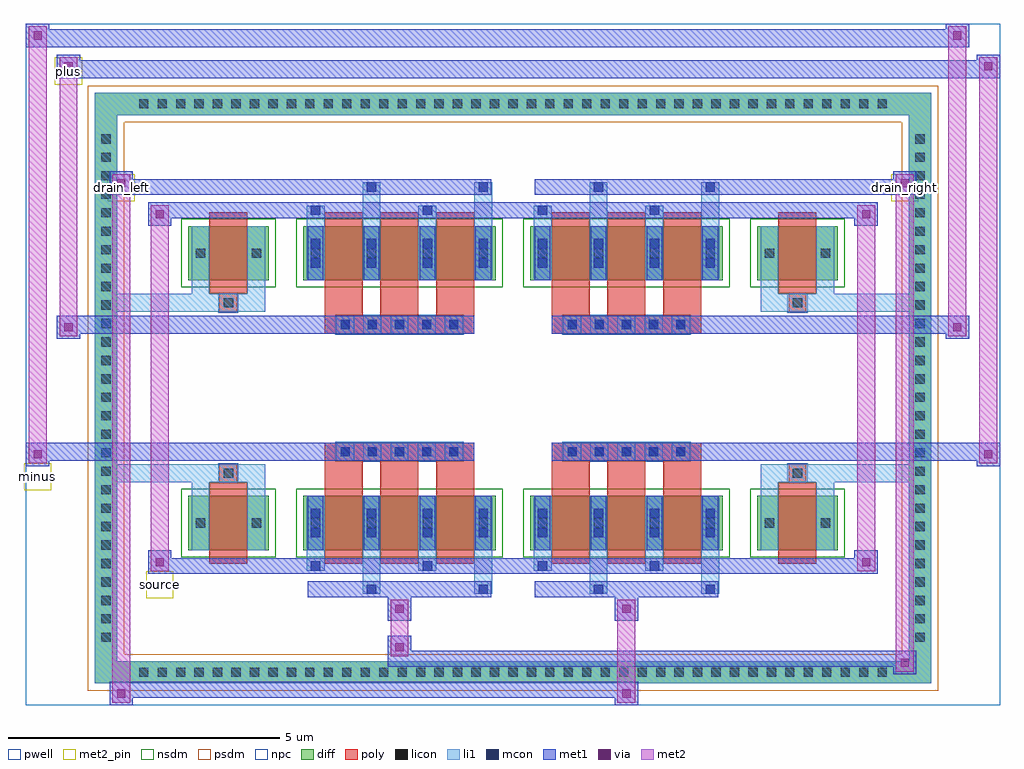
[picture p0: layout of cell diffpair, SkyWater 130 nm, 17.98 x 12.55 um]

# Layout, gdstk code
import gdstk
lib = gdstk.Library(unit=1e-6, precision=5e-09)
def R(c, l, rs):  # rectangles x0, y0, x1, y1
    for r in rs: c.add(gdstk.rectangle(r[:2], r[2:], *l))
def A(c, l, x, y, w, h, nx, ny, dx, dy):  # array of equal rectangles
    R(c, l, [(x+i*dx, y+j*dy, x+i*dx+w, y+j*dy+h) for i in range(nx) for j in range(ny)])
def P(c, l, *ps):  # polygons
    for p in ps: c.add(gdstk.Polygon(p, *l))
pwell = (64, 44)
diff = (65, 20)
poly = (66, 20)
licon = (66, 44)
li1 = (67, 20)
mcon = (67, 44)
met1 = (68, 20)
via = (68, 44)
met2_pin = (69, 16)
met2 = (69, 20)
nsdm = (93, 44)
psdm = (94, 20)
npc = (95, 20)

diffpair = lib.new_cell('diffpair')
R(diffpair, pwell, [(-8.97,-5.84,8.97,6.71), (-6.29,-4.03,-0.01,-0.805), (0.01,-4.03,6.29,-0.805), (-6.29,0.805,-0.01,4.03), (0.01,0.805,6.29,4.03)])
A(diffpair, diff, -7.005, -5.44, 0.41, 0.41, 41, 2, 0.34, 10.47)
A(diffpair, diff, -7.7, -4.795, 0.41, 0.41, 1, 28, 0, 0.34)
A(diffpair, diff, 7.29, -4.795, 0.41, 0.41, 1, 28, 0, 0.34)
R(diffpair, diff, [(-7.005,-5.44,7.005,-5.03), (-7.7,-4.795,-7.29,4.795), (7.29,-4.795,7.7,4.795), (-5.98,-2.985,-4.5,-1.985), (-3.86,-2.985,-0.32,-1.985), (0.32,-2.985,3.86,-1.985), (4.5,-2.985,5.98,-1.985), (-5.98,1.985,-4.5,2.985), (-3.86,1.985,-0.32,2.985), (0.32,1.985,3.86,2.985), (4.5,1.985,5.98,2.985), (-7.005,5.03,7.005,5.44)])
P(diffpair, diff, [(7.7,5.44),(-7.7,5.44),(-7.7,-5.03),(-7.29,-5.03),(-7.29,5.03),(7.29,5.03),(7.29,-5.03),(-7.29,-5.03),(-7.7,-5.03),(-7.7,-5.44),(7.7,-5.44)])
A(diffpair, poly, -3.47, -3.235, 0.7, 1.5, 3, 2, 1.03, 4.97)
A(diffpair, poly, 0.71, -3.235, 0.7, 1.5, 3, 2, 1.03, 4.97)
A(diffpair, poly, -3.47, -1.735, 0.7, 0.4, 3, 2, 1.03, 3.07)
A(diffpair, poly, 0.71, -1.735, 0.7, 0.4, 3, 2, 1.03, 3.07)
A(diffpair, poly, -3.255, -1.335, 0.33, 0.33, 5, 2, 0.5, 2.34)
A(diffpair, poly, 0.925, -1.335, 0.33, 0.33, 5, 2, 0.5, 2.34)
R(diffpair, poly, [(-5.59,-3.235,-4.89,-1.735), (4.89,-3.235,5.59,-1.735), (-5.405,-1.735,-5.075,-1.405), (-5.405,-1.735,-5.075,-1.405), (5.075,-1.735,5.405,-1.405), (5.075,-1.735,5.405,-1.405), (-3.47,-1.335,-0.71,-1.005), (0.71,-1.335,3.47,-1.005), (-3.47,1.005,-0.71,1.335), (0.71,1.005,3.47,1.335), (-5.405,1.405,-5.075,1.735), (-5.405,1.405,-5.075,1.735), (5.075,1.405,5.405,1.735), (5.075,1.405,5.405,1.735), (-5.59,1.735,-4.89,3.235), (4.89,1.735,5.59,3.235)])
A(diffpair, licon, -6.885, -5.32, 0.17, 0.17, 41, 2, 0.34, 10.47)
A(diffpair, licon, -7.58, -4.675, 0.17, 0.17, 1, 28, 0, 0.34)
A(diffpair, licon, 7.41, -4.675, 0.17, 0.17, 1, 28, 0, 0.34)
A(diffpair, licon, -3.72, -2.57, 0.17, 0.17, 4, 2, 1.03, 4.97)
A(diffpair, licon, 0.46, -2.57, 0.17, 0.17, 4, 2, 1.03, 4.97)
A(diffpair, licon, -3.175, -1.255, 0.17, 0.17, 5, 2, 0.5, 2.34)
A(diffpair, licon, 1.005, -1.255, 0.17, 0.17, 5, 2, 0.5, 2.34)
R(diffpair, licon, [(-5.84,-2.57,-5.67,-2.4), (-4.81,-2.57,-4.64,-2.4), (4.64,-2.57,4.81,-2.4), (5.67,-2.57,5.84,-2.4), (-5.325,-1.655,-5.155,-1.485), (5.155,-1.655,5.325,-1.485), (-5.325,1.485,-5.155,1.655), (5.155,1.485,5.325,1.655), (-5.84,2.4,-5.67,2.57), (-4.81,2.4,-4.64,2.57), (4.64,2.4,4.81,2.57), (5.67,2.4,5.84,2.57)])
A(diffpair, li1, -6.965, -5.4, 0.33, 0.33, 41, 2, 0.34, 10.47)
A(diffpair, li1, -7.66, -4.755, 0.33, 0.33, 1, 28, 0, 0.34)
A(diffpair, li1, 7.33, -4.755, 0.33, 0.33, 1, 28, 0, 0.34)
A(diffpair, li1, -3.8, -2.985, 0.33, 1, 4, 2, 1.03, 4.97)
A(diffpair, li1, 0.38, -2.985, 0.33, 1, 4, 2, 1.03, 4.97)
A(diffpair, li1, -3.72, -2.75, 0.17, 0.17, 4, 2, 1.03, 0.36)
A(diffpair, li1, -3.72, -2.75, 0.17, 0.53, 4, 2, 1.03, 4.97)
A(diffpair, li1, 0.46, -2.75, 0.17, 0.17, 4, 2, 1.03, 0.36)
A(diffpair, li1, 0.46, -2.75, 0.17, 0.53, 4, 2, 1.03, 4.97)
A(diffpair, li1, -3.8, -2.65, 0.33, 0.33, 4, 2, 1.03, 4.97)
A(diffpair, li1, 0.38, -2.65, 0.33, 0.33, 4, 2, 1.03, 4.97)
A(diffpair, li1, -3.255, -1.335, 0.33, 0.33, 5, 2, 0.5, 2.34)
A(diffpair, li1, 0.925, -1.335, 0.33, 0.33, 5, 2, 0.5, 2.34)
A(diffpair, li1, -3.72, 2.22, 0.17, 0.17, 4, 2, 1.03, 0.36)
A(diffpair, li1, 0.46, 2.22, 0.17, 0.17, 4, 2, 1.03, 0.36)
R(diffpair, li1, [(-7.7,-5.44,-7.29,-5.03), (-7.7,-5.44,-7.29,-5.03), (-7.29,-5.44,7.29,-5.03), (7.29,-5.44,7.7,-5.03), (7.29,-5.44,7.7,-5.03), (-7.7,-5.03,-7.29,5.03), (7.29,-5.03,7.7,5.03), (-2.77,-3.79,-2.44,-2.985), (-2.69,-3.79,-2.52,-3.62), (-0.71,-3.79,-0.38,-2.985), (-0.63,-3.79,-0.46,-3.62), (1.41,-3.79,1.74,-2.985), (1.49,-3.79,1.66,-3.62), (3.47,-3.79,3.8,-2.985), (3.55,-3.79,3.72,-3.62), (-3.8,-3.36,-3.47,-2.985), (-3.72,-3.36,-3.55,-3.19), (-1.74,-3.36,-1.41,-2.985), (-1.66,-3.36,-1.49,-3.19), (0.38,-3.36,0.71,-2.985), (0.46,-3.36,0.63,-3.19), (2.44,-3.36,2.77,-2.985), (2.52,-3.36,2.69,-3.19), (-5.92,-2.985,-5.59,-1.985), (-4.89,-2.985,-4.56,-1.985), (4.56,-2.985,4.89,-1.985), (5.59,-2.985,5.92,-1.985), (-5.92,-2.65,-5.59,-2.32), (-4.89,-2.65,-4.56,-2.32), (4.56,-2.65,4.89,-2.32), (5.59,-2.65,5.92,-2.32), (-5.92,-1.985,-5.59,-1.405), (-4.89,-1.985,-4.56,-1.405), (4.56,-1.985,4.89,-1.405), (5.59,-1.985,5.92,-1.405), (-7.7,-1.735,-5.405,-1.405), (-5.92,-1.735,-5.405,-1.405), (-5.405,-1.735,-5.075,-1.405), (-5.075,-1.735,-4.56,-1.405), (4.56,-1.735,5.075,-1.405), (5.075,-1.735,5.405,-1.405), (5.075,-1.735,7.7,-1.405), (5.405,-1.735,5.92,-1.405), (-7.7,1.405,-5.405,1.735), (-5.92,1.405,-5.405,1.735), (-5.92,1.405,-5.59,1.985), (-5.405,1.405,-5.075,1.735), (-5.075,1.405,-4.56,1.735), (-4.89,1.405,-4.56,1.985), (4.56,1.405,5.075,1.735), (4.56,1.405,4.89,1.985), (5.075,1.405,5.405,1.735), (5.075,1.405,7.7,1.735), (5.405,1.405,5.92,1.735), (5.59,1.405,5.92,1.985), (-5.92,1.985,-5.59,2.985), (-4.89,1.985,-4.56,2.985), (4.56,1.985,4.89,2.985), (5.59,1.985,5.92,2.985), (-5.92,2.32,-5.59,2.65), (-4.89,2.32,-4.56,2.65), (4.56,2.32,4.89,2.65), (5.59,2.32,5.92,2.65), (-3.8,2.985,-3.47,3.36), (-2.77,2.985,-2.44,3.79), (-1.74,2.985,-1.41,3.36), (-0.71,2.985,-0.38,3.79), (0.38,2.985,0.71,3.36), (1.41,2.985,1.74,3.79), (2.44,2.985,2.77,3.36), (3.47,2.985,3.8,3.79), (-3.72,3.19,-3.55,3.36), (-1.66,3.19,-1.49,3.36), (0.46,3.19,0.63,3.36), (2.52,3.19,2.69,3.36), (-2.69,3.62,-2.52,3.79), (-0.63,3.62,-0.46,3.79), (1.49,3.62,1.66,3.79), (3.55,3.62,3.72,3.79), (-7.7,5.03,-7.29,5.44), (-7.7,5.03,-7.29,5.44), (-7.29,5.03,7.29,5.44), (7.29,5.03,7.7,5.44), (7.29,5.03,7.7,5.44)])
A(diffpair, mcon, -3.72, -2.75, 0.17, 0.17, 4, 2, 1.03, 0.36)
A(diffpair, mcon, 0.46, -2.75, 0.17, 0.17, 4, 2, 1.03, 0.36)
A(diffpair, mcon, -3.175, -1.255, 0.17, 0.17, 5, 2, 0.5, 2.34)
A(diffpair, mcon, 1.005, -1.255, 0.17, 0.17, 5, 2, 0.5, 2.34)
A(diffpair, mcon, -3.72, 2.22, 0.17, 0.17, 4, 2, 1.03, 0.36)
A(diffpair, mcon, 0.46, 2.22, 0.17, 0.17, 4, 2, 1.03, 0.36)
R(diffpair, mcon, [(-2.69,-3.79,-2.52,-3.62), (-0.63,-3.79,-0.46,-3.62), (1.49,-3.79,1.66,-3.62), (3.55,-3.79,3.72,-3.62), (-3.72,-3.36,-3.55,-3.19), (-1.66,-3.36,-1.49,-3.19), (0.46,-3.36,0.63,-3.19), (2.52,-3.36,2.69,-3.19), (-3.72,3.19,-3.55,3.36), (-1.66,3.19,-1.49,3.36), (0.46,3.19,0.63,3.36), (2.52,3.19,2.69,3.36), (-2.69,3.62,-2.52,3.79), (-0.63,3.62,-0.46,3.79), (1.49,3.62,1.66,3.79), (3.55,3.62,3.72,3.79)])
A(diffpair, met1, -3.78, -2.985, 0.29, 1, 4, 2, 1.03, 4.97)
A(diffpair, met1, 0.4, -2.985, 0.29, 1, 4, 2, 1.03, 4.97)
A(diffpair, met1, -3.78, -2.81, 0.29, 0.29, 4, 2, 1.03, 0.36)
A(diffpair, met1, 0.4, -2.81, 0.29, 0.29, 4, 2, 1.03, 0.36)
A(diffpair, met1, -3.235, -1.315, 0.29, 0.29, 5, 2, 0.5, 2.34)
A(diffpair, met1, 0.945, -1.315, 0.29, 0.29, 5, 2, 0.5, 2.34)
A(diffpair, met1, -3.78, 2.16, 0.29, 0.29, 4, 2, 1.03, 0.36)
A(diffpair, met1, 0.4, 2.16, 0.29, 0.29, 4, 2, 1.03, 0.36)
R(diffpair, met1, [(-7.43,-5.84,-7,-5.41), (1.875,-5.84,2.305,-5.41), (-7.43,-5.7,2.305,-5.41), (7,-5.27,7.43,-4.84), (-2.305,-5.13,7.43,-4.84), (-2.305,-4.99,-1.875,-4.56), (-2.305,-4.28,-1.875,-3.85), (1.875,-4.28,2.305,-3.85), (-3.78,-3.85,-0.4,-3.56), (-2.75,-3.85,-2.46,-3.56), (-0.69,-3.85,-0.4,-3.56), (0.4,-3.85,3.78,-3.56), (1.43,-3.85,1.72,-3.56), (3.49,-3.85,3.78,-3.56), (-6.72,-3.42,-6.29,-2.99), (-6.72,-3.42,-3.78,-3.13), (-3.78,-3.42,-3.49,-3.13), (-3.78,-3.42,-0.4,-3.13), (-1.72,-3.42,-1.43,-3.13), (-0.4,-3.42,0.4,-3.13), (0.4,-3.42,0.69,-3.13), (0.4,-3.42,3.78,-3.13), (2.46,-3.42,2.75,-3.13), (3.78,-3.42,6.72,-3.13), (6.29,-3.42,6.72,-2.99), (-8.97,-1.435,-8.54,-1.005), (8.54,-1.435,8.97,-1.005), (-8.97,-1.335,-0.71,-1.005), (-3.47,-1.335,-0.71,-1.005), (0.71,-1.335,3.47,-1.005), (0.71,-1.335,8.97,-1.005), (-8.4,0.905,-7.97,1.335), (7.97,0.905,8.4,1.335), (-8.4,1.005,-3.47,1.335), (-3.47,1.005,-0.71,1.335), (0.71,1.005,3.47,1.335), (3.47,1.005,8.4,1.335), (-6.72,2.99,-6.29,3.42), (6.29,2.99,6.72,3.42), (-6.72,3.13,-3.78,3.42), (-3.78,3.13,-3.49,3.42), (-3.78,3.13,-0.4,3.42), (-1.72,3.13,-1.43,3.42), (-0.4,3.13,0.4,3.42), (0.4,3.13,0.69,3.42), (0.4,3.13,3.78,3.42), (2.46,3.13,2.75,3.42), (3.78,3.13,6.72,3.42), (-7.43,3.56,-7,3.99), (-7.43,3.56,-3.78,3.85), (-3.78,3.56,-0.4,3.85), (-2.75,3.56,-2.46,3.85), (-0.69,3.56,-0.4,3.85), (0.4,3.56,3.78,3.85), (1.43,3.56,1.72,3.85), (3.49,3.56,3.78,3.85), (3.78,3.56,7.43,3.85), (7,3.56,7.43,3.99), (-8.4,5.71,-7.97,6.14), (-8.4,5.71,-6.29,6.04), (-6.29,5.71,6.29,6.04), (6.29,5.71,8.97,6.04), (8.54,5.71,8.97,6.14), (-8.97,6.28,-8.54,6.71), (-8.97,6.28,-6.29,6.61), (-6.29,6.28,6.29,6.61), (6.29,6.28,8.4,6.61), (7.97,6.28,8.4,6.71)])
R(diffpair, via, [(-7.29,-5.7,-7.14,-5.55), (2.015,-5.7,2.165,-5.55), (7.14,-5.13,7.29,-4.98), (-2.165,-4.85,-2.015,-4.7), (-2.165,-4.14,-2.015,-3.99), (2.015,-4.14,2.165,-3.99), (-6.58,-3.28,-6.43,-3.13), (6.43,-3.28,6.58,-3.13), (-8.83,-1.295,-8.68,-1.145), (8.68,-1.295,8.83,-1.145), (-8.26,1.045,-8.11,1.195), (8.11,1.045,8.26,1.195), (-6.58,3.13,-6.43,3.28), (6.43,3.13,6.58,3.28), (-7.29,3.7,-7.14,3.85), (7.14,3.7,7.29,3.85), (-8.26,5.85,-8.11,6), (8.68,5.85,8.83,6), (-8.83,6.42,-8.68,6.57), (8.11,6.42,8.26,6.57)])
R(diffpair, met2_pin, [(-6.755,-3.87,-6.255,-3.37), (-9.005,-1.885,-8.505,-1.385), (-7.465,3.44,-6.965,3.94), (6.965,3.44,7.465,3.94), (-8.435,5.59,-7.935,6.09)])
R(diffpair, met2, [(-7.38,-5.79,-7.05,-5.46), (-7.38,-5.79,-7.05,3.94), (1.925,-5.79,2.255,-5.46), (1.925,-5.46,2.255,-4.23), (7.05,-5.22,7.38,-4.89), (7.05,-5.22,7.38,3.94), (-2.255,-4.94,-1.925,-4.61), (-2.255,-4.61,-1.925,-4.23), (-2.255,-4.23,-1.925,-3.9), (1.925,-4.23,2.255,-3.9), (-6.67,-3.37,-6.34,-3.04), (-6.67,-3.37,-6.34,3.37), (6.34,-3.37,6.67,-3.04), (6.34,-3.37,6.67,3.37), (-8.92,-1.385,-8.59,-1.055), (-8.92,-1.385,-8.59,6.66), (8.59,-1.385,8.92,-1.055), (8.59,-1.385,8.92,6.09), (-8.35,0.955,-8.02,1.285), (-8.35,0.955,-8.02,6.09), (8.02,0.955,8.35,1.285), (8.02,0.955,8.35,6.66), (-6.67,3.04,-6.34,3.37), (6.34,3.04,6.67,3.37), (-7.38,3.61,-7.05,3.94), (7.05,3.61,7.38,3.94), (-8.35,5.76,-8.02,6.09), (8.59,5.76,8.92,6.09), (-8.92,6.33,-8.59,6.66), (8.02,6.33,8.35,6.66)])
P(diffpair, met2, [(8.92,-1.385),(8.92,-1.385),(8.92,-1.055),(8.92,-1.055)],
  [(8.92,5.76),(8.92,5.76),(8.92,6.09),(8.92,6.09)],
  [(-8.59,-1.385),(-8.59,-1.385),(-8.59,-1.055),(-8.59,-1.055)],
  [(-8.59,6.33),(-8.59,6.33),(-8.59,6.66),(-8.59,6.66)],
  [(8.35,0.955),(8.35,0.955),(8.35,1.285),(8.35,1.285)],
  [(8.35,6.33),(8.35,6.33),(8.35,6.66),(8.35,6.66)],
  [(-8.02,0.955),(-8.02,0.955),(-8.02,1.285),(-8.02,1.285)],
  [(-8.02,5.76),(-8.02,5.76),(-8.02,6.09),(-8.02,6.09)],
  [(-7.05,-5.79),(-7.05,-5.79),(-7.05,-5.46),(-7.05,-5.46)],
  [(-7.05,3.61),(-7.05,3.61),(-7.05,3.94),(-7.05,3.94)],
  [(7.38,-5.22),(7.38,-5.22),(7.38,-4.89),(7.38,-4.89)],
  [(7.38,3.61),(7.38,3.61),(7.38,3.94),(7.38,3.94)],
  [(-6.34,-3.37),(-6.34,-3.37),(-6.34,-3.04),(-6.34,-3.04)],
  [(-6.34,3.04),(-6.34,3.04),(-6.34,3.37),(-6.34,3.37)],
  [(6.67,-3.37),(6.67,-3.37),(6.67,-3.04),(6.67,-3.04)],
  [(6.67,3.04),(6.67,3.04),(6.67,3.37),(6.67,3.37)])
R(diffpair, nsdm, [(-6.11,-3.115,-4.37,-1.855), (-3.99,-3.115,-0.19,-1.855), (0.19,-3.115,3.99,-1.855), (4.37,-3.115,6.11,-1.855), (-6.11,1.855,-4.37,3.115), (-3.99,1.855,-0.19,3.115), (0.19,1.855,3.99,3.115), (4.37,1.855,6.11,3.115)])
P(diffpair, psdm, [(7.83,5.57),(-7.83,5.57),(-7.83,-4.9),(-7.16,-4.9),(-7.16,4.9),(7.16,4.9),(7.16,-4.9),(-7.16,-4.9),(-7.83,-4.9),(-7.83,-5.57),(7.83,-5.57)])
A(diffpair, npc, -3.275, -1.355, 0.37, 0.37, 5, 2, 0.5, 2.34)
A(diffpair, npc, 0.905, -1.355, 0.37, 0.37, 5, 2, 0.5, 2.34)
R(diffpair, npc, [(-5.425,-1.755,-5.055,-1.385), (5.055,-1.755,5.425,-1.385), (-3.275,-1.355,-2.405,-0.985), (-3.275,-1.355,-2.405,-0.985), (-2.775,-1.355,-1.905,-0.985), (-2.775,-1.355,-1.905,-0.985), (-2.275,-1.355,-1.405,-0.985), (-2.275,-1.355,-1.405,-0.985), (-1.775,-1.355,-0.905,-0.985), (-1.775,-1.355,-0.905,-0.985), (0.905,-1.355,1.775,-0.985), (0.905,-1.355,1.775,-0.985), (1.405,-1.355,2.275,-0.985), (1.405,-1.355,2.275,-0.985), (1.905,-1.355,2.775,-0.985), (1.905,-1.355,2.775,-0.985), (2.405,-1.355,3.275,-0.985), (2.405,-1.355,3.275,-0.985), (-3.275,0.985,-2.405,1.355), (-3.275,0.985,-2.405,1.355), (-2.775,0.985,-1.905,1.355), (-2.775,0.985,-1.905,1.355), (-2.275,0.985,-1.405,1.355), (-2.275,0.985,-1.405,1.355), (-1.775,0.985,-0.905,1.355), (-1.775,0.985,-0.905,1.355), (0.905,0.985,1.775,1.355), (0.905,0.985,1.775,1.355), (1.405,0.985,2.275,1.355), (1.405,0.985,2.275,1.355), (1.905,0.985,2.775,1.355), (1.905,0.985,2.775,1.355), (2.405,0.985,3.275,1.355), (2.405,0.985,3.275,1.355), (-5.425,1.385,-5.055,1.755), (5.055,1.385,5.425,1.755)])
diffpair.add(gdstk.Label('minus', (-8.755,-1.635), layer=69, texttype=5))
diffpair.add(gdstk.Label('drain_right', (7.215,3.69), layer=69, texttype=5))
diffpair.add(gdstk.Label('drain_left', (-7.215,3.69), layer=69, texttype=5))
diffpair.add(gdstk.Label('source', (-6.505,-3.62), layer=69, texttype=5))
diffpair.add(gdstk.Label('plus', (-8.185,5.84), layer=69, texttype=5))

lib.write_gds('diffpair.gds')
